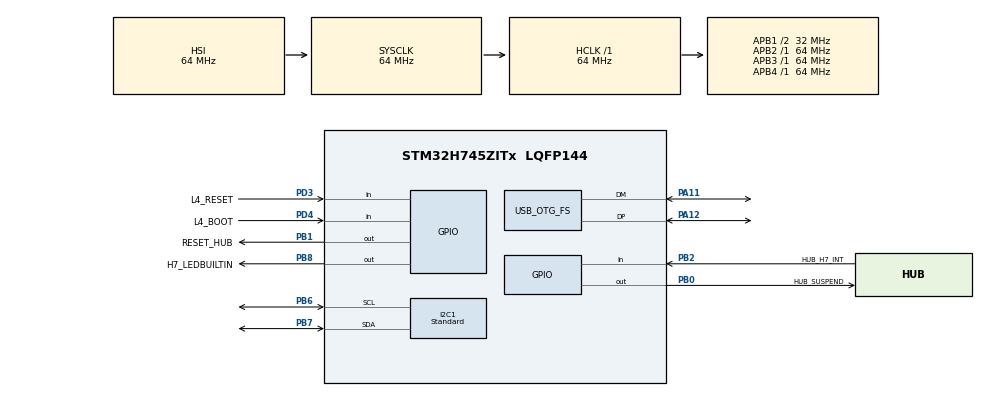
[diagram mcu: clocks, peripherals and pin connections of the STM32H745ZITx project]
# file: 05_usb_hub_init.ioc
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CORTEX_M7.default_mode_Activation=1
CortexM4.IPs=CORTEX_M4\:I,FATFS_M4\:I,FREERTOS_M4\:I,IWDG2\:I,OPENAMP_M4\:I,PDM2PCM_M4\:I,PWR,RCC,RESMGR_UTILITY,SYS_M4\:I,USB_DEVICE_M4\:I,USB_HOST_M4\:I,VREFBUF,WWDG2\:I,GPIO,DMA,BDMA,MDMA,NVIC2\:I
CortexM7.IPs=CORTEX_M7\:I,FATFS_M7\:I,FREERTOS_M7\:I,IWDG1\:I,OPENAMP_M7\:I,PDM2PCM_M7\:I,PWR\:I,RCC\:I,RESMGR_UTILITY\:I,SYS\:I,USB_DEVICE_M7\:I,USB_HOST_M7\:I,VREFBUF\:I,WWDG1\:I,GPIO\:I,DMA\:I,BDMA\:I,MDMA\:I,NVIC1\:I,DEBUG\:I,I2C1\:I,USB_OTG_FS\:I,MEMORYMAP\:I
CortexM7.Pins=PB0,PB1,PB2,PD3,PD4,PB8
I2C1.I2C_Speed_Mode=I2C_Standard
I2C1.Timing=0x00707CBB
Mcu.Family=STM32H7
Mcu.Name=STM32H745ZITx
Mcu.Package=LQFP144
NVIC1.OTG_FS_IRQn=true\:0\:0\:false\:false\:true\:false\:true\:true
NVIC1.PriorityGroup=NVIC_PRIORITYGROUP_4
NVIC2.PriorityGroup=NVIC_PRIORITYGROUP_4
PA11.Mode=Device_Only
PA11.PinAttribute=CortexM7
PA11.Signal=USB_OTG_FS_DM
PA12.Mode=Device_Only
PA12.PinAttribute=CortexM7
PA12.Signal=USB_OTG_FS_DP
PA13\ (JTMS/SWDIO).Mode=Serial_Wire
PA13\ (JTMS/SWDIO).PinAttribute=CortexM7
PA13\ (JTMS/SWDIO).Signal=DEBUG_JTMS-SWDIO
PA14\ (JTCK/SWCLK).Mode=Serial_Wire
PA14\ (JTCK/SWCLK).PinAttribute=CortexM7
PA14\ (JTCK/SWCLK).Signal=DEBUG_JTCK-SWCLK
PB0.GPIO_Label=HUB_SUSPEND
PB0.PinAttribute=CortexM7
PB0.Signal=GPIO_Output
PB1.GPIO_Label=RESET_HUB
PB1.PinAttribute=CortexM7
PB1.PinState=GPIO_PIN_SET
PB1.Signal=GPIO_Output
PB2.GPIO_Label=HUB_H7_INT
PB2.PinAttribute=CortexM7
PB2.Signal=GPIO_Input
PB6.Mode=I2C
PB6.PinAttribute=CortexM7
PB6.Signal=I2C1_SCL
PB7.Mode=I2C
PB7.PinAttribute=CortexM7
PB7.Signal=I2C1_SDA
PB8.GPIO_Label=H7_LEDBUILTIN
PB8.PinAttribute=CortexM7
PB8.Signal=GPIO_Output
PC14-OSC32_IN\ (OSC32_IN).Mode=LSE-External-Clock-Source
PC14-OSC32_IN\ (OSC32_IN).PinAttribute=Free
PC14-OSC32_IN\ (OSC32_IN).Signal=RCC_OSC32_IN
PD3.GPIO_Label=L4_RESET
PD3.GPIO_PuPd=GPIO_PULLDOWN
PD3.PinAttribute=CortexM7
PD3.Signal=GPIO_Input
PD4.GPIO_Label=L4_BOOT
PD4.PinAttribute=CortexM7
PD4.Signal=GPIO_Input
PH0-OSC_IN\ (PH0).Mode=HSE-External-Clock-Source
PH0-OSC_IN\ (PH0).PinAttribute=Free
PH0-OSC_IN\ (PH0).Signal=RCC_OSC_IN
ProjectManager.HeapSize=M4-0x200,M7-0x200
ProjectManager.StackSize=M4-0x400,M7-0x400
ProjectManager.TargetToolchain=CMake
RCC.ADCFreq_Value=50390625
RCC.APB1Freq_Value=32000000
RCC.APB2Freq_Value=64000000
RCC.APB3Freq_Value=64000000
RCC.APB4Freq_Value=64000000
RCC.CortexFreq_Value=64000000
RCC.D2PPRE1=RCC_APB1_DIV2
RCC.DIVM1=5
RCC.DIVN1=48
RCC.DIVQ1=5
RCC.HCLKFreq_Value=64000000
RCC.SYSCLKFreq_VALUE=64000000
RCC.USBFreq_Value=48000000
SYS.userName=SYS_M7
USB_DEVICE_M7.CLASS_NAME_FS=CDC
USB_DEVICE_M7.VirtualMode-CDC_FS=Cdc
USB_DEVICE_M7.VirtualModeFS=Cdc_FS
USB_OTG_FS.VirtualMode=Device_Only
VP_MEMORYMAP_VS_MEMORYMAP.Mode=CurAppReg
VP_SYS_M4_VS_Systick.Mode=SysTick
VP_USB_DEVICE_M7_VS_USB_DEVICE_CDC_FS.Mode=CDC_FS
board=custom

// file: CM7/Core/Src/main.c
/* USER CODE BEGIN Header */
/**
  ******************************************************************************
  * @file           : main.c
  * @brief          : Main program body
  ******************************************************************************
  * @attention
  *
  * Copyright (c) 2025 STMicroelectronics.
  * All rights reserved.
  *
  * This software is licensed under terms that can be found in the LICENSE file
  * in the root directory of this software component.
  * If no LICENSE file comes with this software, it is provided AS-IS.
  *
  ******************************************************************************
  */
/* USER CODE END Header */
#include "main.h"
#include "usb_device.h"

/* USER CODE BEGIN Includes */
#include "usbd_cdc_if.h"
#include "usb2422.h"
#include "usb2422_platform.h"
/* USER CODE END Includes */

/* USER CODE BEGIN PD */

/* DUAL_CORE_BOOT_SYNC_SEQUENCE: Define for dual core boot synchronization    */
/*                             demonstration code based on hardware semaphore */
/* This define is present in both CM7/CM4 projects                            */
/* To comment when developping/debugging on a single core                     */
#define DUAL_CORE_BOOT_SYNC_SEQUENCE

#if defined(DUAL_CORE_BOOT_SYNC_SEQUENCE)
#ifndef HSEM_ID_0
#define HSEM_ID_0 (0U) /* HW semaphore 0*/
#endif
#endif /* DUAL_CORE_BOOT_SYNC_SEQUENCE */

#define USB_DEBUG_BUFFER_SIZE 512
#define USB2422_I2C &hi2c1
/* USER CODE END PD */

I2C_HandleTypeDef hi2c1;

/* USER CODE BEGIN PV */
char debug_buffer[USB_DEBUG_BUFFER_SIZE];

// USB instances
usb2422_t usb_hub;
logging_stats_t logging_stats = {0};

usb2422_hub_settings_t hub_settings = {0};
usb2422_power_settings_t power_settings = {0};
usb2422_downstream_port_settings_t port_settings = {false};
usb2422_cfg_regs_t config_registers = {0};
/* USER CODE END PV */

void SystemClock_Config(void);
static void MPU_Config(void);
static void MX_GPIO_Init(void);
static void MX_I2C1_Init(void);

/* USER CODE BEGIN 0 */
void usb_debug_print(const char* message) {
  if (logging_stats.usb_ready && message != NULL) {
    const uint16_t len = strlen(message);
    if (len > 0) {
      // Use CDC_Transmit_FS function to send data via USB CDC
      CDC_Transmit_FS((uint8_t*)message, len);

      // Small delay to prevent overwhelming USB
      HAL_Delay(1);
    }
  }
}
/* USER CODE END 0 */

int main(void)
{

/* USER CODE BEGIN Boot_Mode_Sequence_0 */
#if defined(DUAL_CORE_BOOT_SYNC_SEQUENCE)
  int32_t timeout;
#endif /* DUAL_CORE_BOOT_SYNC_SEQUENCE */
/* USER CODE END Boot_Mode_Sequence_0 */

  /* MPU Configuration--------------------------------------------------------*/
  MPU_Config();

/* USER CODE BEGIN Boot_Mode_Sequence_1 */
#if defined(DUAL_CORE_BOOT_SYNC_SEQUENCE)
  /* Wait until CPU2 boots and enters in stop mode or timeout*/
  timeout = 0xFFFF;
  while((__HAL_RCC_GET_FLAG(RCC_FLAG_D2CKRDY) != RESET) && (timeout-- > 0));
  if ( timeout < 0 )
  {
  Error_Handler();
  }
#endif /* DUAL_CORE_BOOT_SYNC_SEQUENCE */
/* USER CODE END Boot_Mode_Sequence_1 */
  /* MCU Configuration--------------------------------------------------------*/

  /* Reset of all peripherals, Initializes the Flash interface and the Systick. */
  HAL_Init();

  /* Configure the system clock */
  SystemClock_Config();
/* USER CODE BEGIN Boot_Mode_Sequence_2 */
  #if defined(DUAL_CORE_BOOT_SYNC_SEQUENCE)
  /* When system initialization is finished, Cortex-M7 will release Cortex-M4 by means of
  HSEM notification */
  /*HW semaphore Clock enable*/
  __HAL_RCC_HSEM_CLK_ENABLE();
  /*Take HSEM */
  HAL_HSEM_FastTake(HSEM_ID_0);
  /*Release HSEM in order to notify the CPU2(CM4)*/
  HAL_HSEM_Release(HSEM_ID_0,0);
  /* wait until CPU2 wakes up from stop mode */
  timeout = 0xFFFF;
  while((__HAL_RCC_GET_FLAG(RCC_FLAG_D2CKRDY) == RESET) && (timeout-- > 0));
  if ( timeout < 0 )
  {
    Error_Handler();
  }
  #endif /* DUAL_CORE_BOOT_SYNC_SEQUENCE */
/* USER CODE END Boot_Mode_Sequence_2 */

  /* Initialize all configured peripherals */
  MX_GPIO_Init();
  MX_I2C1_Init();
  MX_USB_DEVICE_Init();
  /* USER CODE BEGIN 2 */
  HAL_GPIO_WritePin(L4_RESET_GPIO_Port, L4_RESET_Pin, GPIO_PIN_RESET); // Set pin low to make sure the reset line stays high
  HAL_GPIO_TogglePin(H7_LEDBUILTIN_GPIO_Port, H7_LEDBUILTIN_Pin);
  HAL_Delay(500);
  HAL_GPIO_TogglePin(H7_LEDBUILTIN_GPIO_Port, H7_LEDBUILTIN_Pin);
  HAL_Delay(5000); // Short delay to let USB settle

  usb2422_platform_set_i2c_handle(USB2422_I2C);

  const usb2422_interface_t io_usb = {
    .i2c_write = platform_i2c_write_reg,
    .i2c_read = platform_i2c_read_reg,
    .delay_ms = platform_delay_ms,
  };

  usb2422_status_t status_usb = usb2422_init(&usb_hub, USB2422_SMBUS_ADDRESS, io_usb);
  if (status_usb != USB2422_OK) {
    while(1) {
      HAL_GPIO_TogglePin(H7_LEDBUILTIN_GPIO_Port, H7_LEDBUILTIN_Pin);
      HAL_Delay(100);
    }
  }

  if (HAL_I2C_IsDeviceReady(&hi2c1, USB2422_SMBUS_ADDRESS, 3, 5) != HAL_OK) {
    while(1) {
      HAL_GPIO_TogglePin(H7_LEDBUILTIN_GPIO_Port, H7_LEDBUILTIN_Pin);
      HAL_Delay(100);
    }
  }

  status_usb = configure_usb2422_for_enumeration(&usb_hub);
  if (status_usb != USB2422_OK) {
    while(1) {
      HAL_GPIO_TogglePin(H7_LEDBUILTIN_GPIO_Port, H7_LEDBUILTIN_Pin);
      HAL_Delay(250);
    }
  }

  status_usb = usb2422_usb_attach_and_protect(&usb_hub, &hub_settings);
  if (status_usb != USB2422_OK) {
    while(1) {
      HAL_GPIO_TogglePin(H7_LEDBUILTIN_GPIO_Port, H7_LEDBUILTIN_Pin);
      HAL_Delay(500);
    }
  }

  logging_stats.usb_ready = 1;

  HAL_Delay(5000); // Delay to make sure terminal is open

  usb_debug_print("USB Hub Initialization\r\n");
  usb_debug_print("======================\r\n");

  HAL_GPIO_TogglePin(H7_LEDBUILTIN_GPIO_Port, H7_LEDBUILTIN_Pin);
  HAL_Delay(100);
  HAL_GPIO_TogglePin(H7_LEDBUILTIN_GPIO_Port, H7_LEDBUILTIN_Pin);

  /* USER CODE END 2 */

  /* Infinite loop */
  while (1)
  {

    /* USER CODE BEGIN 3 */
    usb_debug_print("Hello World!/r/n");
    HAL_GPIO_TogglePin(H7_LEDBUILTIN_GPIO_Port, H7_LEDBUILTIN_Pin);
    HAL_Delay(1000);
  }
  /* USER CODE END 3 */
}

void SystemClock_Config(void)
{
  RCC_OscInitTypeDef RCC_OscInitStruct = {0};
  RCC_ClkInitTypeDef RCC_ClkInitStruct = {0};

  /** Supply configuration update enable
  */
  HAL_PWREx_ConfigSupply(PWR_DIRECT_SMPS_SUPPLY);

  /** Configure the main internal regulator output voltage
  */
  __HAL_PWR_VOLTAGESCALING_CONFIG(PWR_REGULATOR_VOLTAGE_SCALE3);

  while(!__HAL_PWR_GET_FLAG(PWR_FLAG_VOSRDY)) {}

  /** Initializes the RCC Oscillators according to the specified parameters
  * in the RCC_OscInitTypeDef structure.
  */
  RCC_OscInitStruct.OscillatorType = RCC_OSCILLATORTYPE_HSI|RCC_OSCILLATORTYPE_HSE;
  RCC_OscInitStruct.HSEState = RCC_HSE_BYPASS;
  RCC_OscInitStruct.HSIState = RCC_HSI_DIV1;
  RCC_OscInitStruct.HSICalibrationValue = RCC_HSICALIBRATION_DEFAULT;
  RCC_OscInitStruct.PLL.PLLState = RCC_PLL_ON;
  RCC_OscInitStruct.PLL.PLLSource = RCC_PLLSOURCE_HSE;
  RCC_OscInitStruct.PLL.PLLM = 5;
  RCC_OscInitStruct.PLL.PLLN = 48;
  RCC_OscInitStruct.PLL.PLLP = 2;
  RCC_OscInitStruct.PLL.PLLQ = 5;
  RCC_OscInitStruct.PLL.PLLR = 2;
  RCC_OscInitStruct.PLL.PLLRGE = RCC_PLL1VCIRANGE_2;
  RCC_OscInitStruct.PLL.PLLVCOSEL = RCC_PLL1VCOWIDE;
  RCC_OscInitStruct.PLL.PLLFRACN = 0;
  if (HAL_RCC_OscConfig(&RCC_OscInitStruct) != HAL_OK)
  {
    Error_Handler();
  }

  /** Initializes the CPU, AHB and APB buses clocks
  */
  RCC_ClkInitStruct.ClockType = RCC_CLOCKTYPE_HCLK|RCC_CLOCKTYPE_SYSCLK
                              |RCC_CLOCKTYPE_PCLK1|RCC_CLOCKTYPE_PCLK2
                              |RCC_CLOCKTYPE_D3PCLK1|RCC_CLOCKTYPE_D1PCLK1;
  RCC_ClkInitStruct.SYSCLKSource = RCC_SYSCLKSOURCE_HSI;
  RCC_ClkInitStruct.SYSCLKDivider = RCC_SYSCLK_DIV1;
  RCC_ClkInitStruct.AHBCLKDivider = RCC_HCLK_DIV1;
  RCC_ClkInitStruct.APB3CLKDivider = RCC_APB3_DIV1;
  RCC_ClkInitStruct.APB1CLKDivider = RCC_APB1_DIV2;
  RCC_ClkInitStruct.APB2CLKDivider = RCC_APB2_DIV1;
  RCC_ClkInitStruct.APB4CLKDivider = RCC_APB4_DIV1;

  if (HAL_RCC_ClockConfig(&RCC_ClkInitStruct, FLASH_LATENCY_1) != HAL_OK)
  {
    Error_Handler();
  }
}

static void MX_I2C1_Init(void)
{

  hi2c1.Instance = I2C1;
  hi2c1.Init.Timing = 0x00707CBB;
  hi2c1.Init.OwnAddress1 = 0;
  hi2c1.Init.AddressingMode = I2C_ADDRESSINGMODE_7BIT;
  hi2c1.Init.DualAddressMode = I2C_DUALADDRESS_DISABLE;
  hi2c1.Init.OwnAddress2 = 0;
  hi2c1.Init.OwnAddress2Masks = I2C_OA2_NOMASK;
  hi2c1.Init.GeneralCallMode = I2C_GENERALCALL_DISABLE;
  hi2c1.Init.NoStretchMode = I2C_NOSTRETCH_DISABLE;
  if (HAL_I2C_Init(&hi2c1) != HAL_OK)
  {
    Error_Handler();
  }

  /** Configure Analogue filter
  */
  if (HAL_I2CEx_ConfigAnalogFilter(&hi2c1, I2C_ANALOGFILTER_ENABLE) != HAL_OK)
  {
    Error_Handler();
  }

  /** Configure Digital filter
  */
  if (HAL_I2CEx_ConfigDigitalFilter(&hi2c1, 0) != HAL_OK)
  {
    Error_Handler();
  }

}

static void MX_GPIO_Init(void)
{
  GPIO_InitTypeDef GPIO_InitStruct = {0};

  /* GPIO Ports Clock Enable */
  __HAL_RCC_GPIOB_CLK_ENABLE();
  __HAL_RCC_GPIOA_CLK_ENABLE();
  __HAL_RCC_GPIOD_CLK_ENABLE();

  /*Configure GPIO pin Output Level */
  HAL_GPIO_WritePin(GPIOB, HUB_SUSPEND_Pin|H7_LEDBUILTIN_Pin, GPIO_PIN_RESET);

  /*Configure GPIO pin Output Level */
  HAL_GPIO_WritePin(RESET_HUB_GPIO_Port, RESET_HUB_Pin, GPIO_PIN_SET);

  /*Configure GPIO pins : HUB_SUSPEND_Pin RESET_HUB_Pin H7_LEDBUILTIN_Pin */
  GPIO_InitStruct.Pin = HUB_SUSPEND_Pin|RESET_HUB_Pin|H7_LEDBUILTIN_Pin;
  GPIO_InitStruct.Mode = GPIO_MODE_OUTPUT_PP;
  GPIO_InitStruct.Pull = GPIO_NOPULL;
  GPIO_InitStruct.Speed = GPIO_SPEED_FREQ_LOW;
  HAL_GPIO_Init(GPIOB, &GPIO_InitStruct);

  /*Configure GPIO pin : HUB_H7_INT_Pin */
  GPIO_InitStruct.Pin = HUB_H7_INT_Pin;
  GPIO_InitStruct.Mode = GPIO_MODE_INPUT;
  GPIO_InitStruct.Pull = GPIO_NOPULL;
  HAL_GPIO_Init(HUB_H7_INT_GPIO_Port, &GPIO_InitStruct);

  /*Configure GPIO pin : L4_RESET_Pin */
  GPIO_InitStruct.Pin = L4_RESET_Pin;
  GPIO_InitStruct.Mode = GPIO_MODE_INPUT;
  GPIO_InitStruct.Pull = GPIO_PULLDOWN;
  HAL_GPIO_Init(L4_RESET_GPIO_Port, &GPIO_InitStruct);

  /*Configure GPIO pin : L4_BOOT_Pin */
  GPIO_InitStruct.Pin = L4_BOOT_Pin;
  GPIO_InitStruct.Mode = GPIO_MODE_INPUT;
  GPIO_InitStruct.Pull = GPIO_NOPULL;
  HAL_GPIO_Init(L4_BOOT_GPIO_Port, &GPIO_InitStruct);

}

 /* MPU Configuration */

void MPU_Config(void)
{
  MPU_Region_InitTypeDef MPU_InitStruct = {0};

  /* Disables the MPU */
  HAL_MPU_Disable();

  /** Initializes and configures the Region and the memory to be protected
  */
  MPU_InitStruct.Enable = MPU_REGION_ENABLE;
  MPU_InitStruct.Number = MPU_REGION_NUMBER0;
  MPU_InitStruct.BaseAddress = 0x0;
  MPU_InitStruct.Size = MPU_REGION_SIZE_4GB;
  MPU_InitStruct.SubRegionDisable = 0x87;
  MPU_InitStruct.TypeExtField = MPU_TEX_LEVEL0;
  MPU_InitStruct.AccessPermission = MPU_REGION_NO_ACCESS;
  MPU_InitStruct.DisableExec = MPU_INSTRUCTION_ACCESS_DISABLE;
  MPU_InitStruct.IsShareable = MPU_ACCESS_SHAREABLE;
  MPU_InitStruct.IsCacheable = MPU_ACCESS_NOT_CACHEABLE;
  MPU_InitStruct.IsBufferable = MPU_ACCESS_NOT_BUFFERABLE;

  HAL_MPU_ConfigRegion(&MPU_InitStruct);
  /* Enables the MPU */
  HAL_MPU_Enable(MPU_PRIVILEGED_DEFAULT);

}

void Error_Handler(void)
{
  __disable_irq();
  while (1)
  {
  }
}
